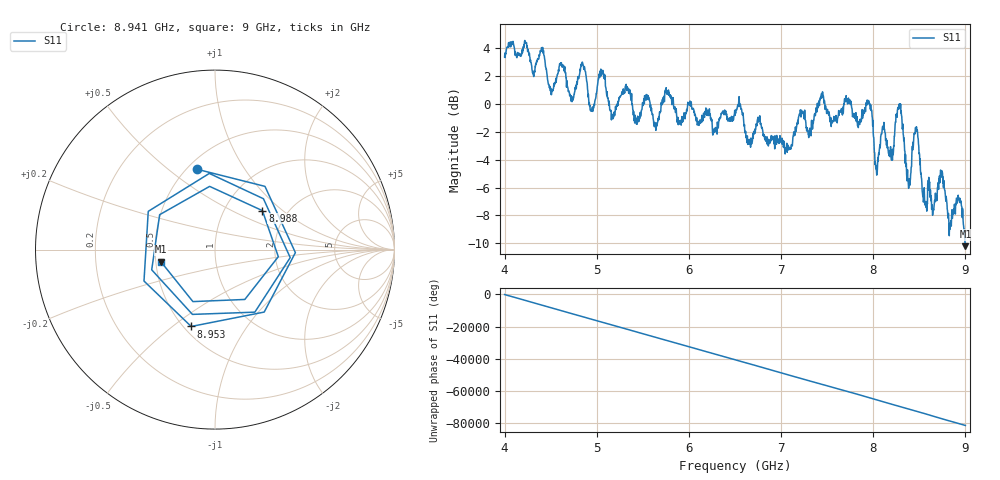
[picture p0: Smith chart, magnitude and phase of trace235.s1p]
! Created with skrf 1.8.0 (http://scikit-rf.org).
# Hz S RI R 50.0
!freq ReS11 ImS11
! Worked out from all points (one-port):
!   1601 points, 4 GHz to 9 GHz, reference 50 ohm
!   lowest |S11| = -10.2 dB at 9 GHz (marker M1), VSWR 1.89, Z = 26.6 - j3.94 ohm
!   |S11| at or under -10 dB: 8.996492 GHz to end of sweep
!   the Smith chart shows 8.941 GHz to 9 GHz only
!   S11 on the Smith chart (normalised r, x): 8.941 GHz: 0.56, +0.63; 8.953 GHz: 0.54, -0.58; 8.988 GHz: 1.50, +0.74; 9 GHz: 0.53, -0.08
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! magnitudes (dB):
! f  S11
! 4 GHz  3.4
! 4.406 GHz  4.0
! 4.506 GHz  0.7
! 4.625 GHz  2.6
! 4.731 GHz  0.1
! 4.853 GHz  2.8
! 4.941 GHz  -0.5
! 5.047 GHz  2.0
! 5.166 GHz  -0.9
! 5.25 GHz  0.5
! 5.875 GHz  -1.1
! 6.5 GHz  -0.8
! 7.125 GHz  -2.7
! 7.438 GHz  0.7
! 7.75 GHz  0.2
! 7.959 GHz  0.0
! 8.038 GHz  -5.1
! 8.106 GHz  -1.8
! 8.2 GHz  -4.0
! 8.288 GHz  0.0
! 8.375 GHz  -5.4
! 8.462 GHz  -1.9
! 8.562 GHz  -7.0
! 8.738 GHz  -5.2
! 8.941 GHz  -6.8
! 8.953 GHz  -7.0
! 8.988 GHz  -9.3
! 9 GHz  -10.2
